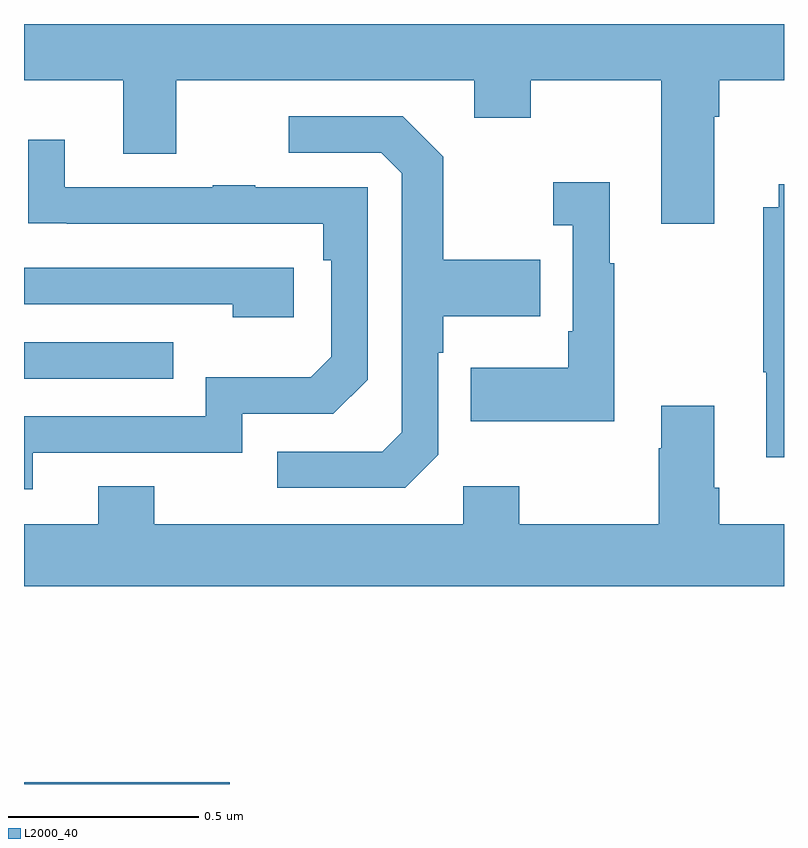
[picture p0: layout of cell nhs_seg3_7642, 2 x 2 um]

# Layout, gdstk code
import gdstk
lib = gdstk.Library(unit=1e-6, precision=1e-09)
def R(c, l, rs):  # rectangles x0, y0, x1, y1
    for r in rs: c.add(gdstk.rectangle(r[:2], r[2:], *l))
def P(c, l, *ps):  # polygons
    for p in ps: c.add(gdstk.Polygon(p, *l))
L2000_40 = (2000, 40)

nhs_seg3_7642 = lib.new_cell('nhs_seg3_7642')
R(nhs_seg3_7642, L2000_40, [(206,696.4,206.542,696.404), (206,697.467,206.393,697.563)])
P(nhs_seg3_7642, L2000_40, [(207.817,698.156),(207.83,698.156),(207.83,698.252),(208,698.252),(208,698.4),(206,698.4),(206,698.252),(206.261,698.252),(206.261,698.058),(206.401,698.058),(206.401,698.252),(207.185,698.252),(207.185,698.153),(207.333,698.153),(207.333,698.252),(207.677,698.252),(207.677,697.875),(207.817,697.875)],
  [(207.09,697.266),(207.09,697.535),(207.103,697.535),(207.103,697.631),(207.359,697.631),(207.359,697.779),(207.103,697.779),(207.103,698.051),(206.997,698.157),(206.697,698.157),(206.697,698.061),(206.94,698.061),(206.994,698.007),(206.994,697.326),(206.943,697.275),(206.667,697.275),(206.667,697.179),(207.003,697.179)],
  [(206.023,697.272),(206.574,697.272),(206.574,697.374),(206.814,697.374),(206.904,697.464),(206.904,697.971),(206.609,697.971),(206.609,697.976),(206.497,697.976),(206.497,697.971),(206.107,697.971),(206.107,698.095),(206.011,698.095),(206.011,697.876),(206.113,697.876),(206.113,697.875),(206.788,697.875),(206.788,697.778),(206.808,697.778),(206.808,697.524),(206.755,697.471),(206.478,697.471),(206.478,697.368),(206,697.368),(206,697.176),(206.023,697.176)],
  [(207.553,697.771),(207.541,697.771),(207.541,697.984),(207.393,697.984),(207.393,697.871),(207.444,697.871),(207.444,697.591),(207.432,697.591),(207.432,697.495),(207.175,697.495),(207.175,697.355),(207.553,697.355)],
  [(208,697.978),(207.986,697.978),(207.986,697.918),(207.946,697.918),(207.946,697.483),(207.953,697.483),(207.953,697.26),(208,697.26)],
  [(206.71,697.758),(206,697.758),(206,697.662),(206.549,697.662),(206.549,697.628),(206.71,697.628)],
  [(208,697.084),(207.83,697.084),(207.83,697.18),(207.817,697.18),(207.817,697.396),(207.677,697.396),(207.677,697.283),(207.67,697.283),(207.67,697.084),(207.303,697.084),(207.303,697.183),(207.156,697.183),(207.156,697.084),(206.343,697.084),(206.343,697.183),(206.195,697.183),(206.195,697.084),(206,697.084),(206,696.92),(208,696.92)])

lib.write_gds('nhs_seg3_7642.gds')
